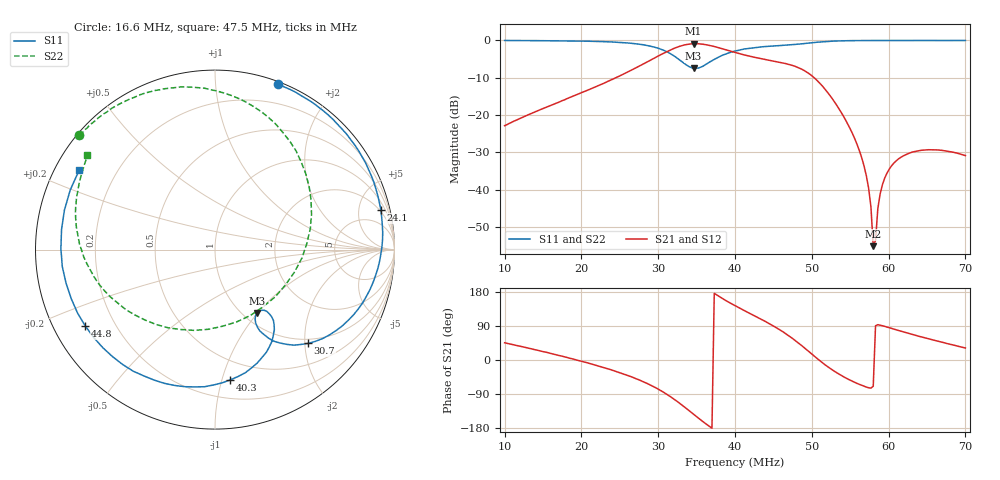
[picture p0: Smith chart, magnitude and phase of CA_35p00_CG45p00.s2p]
#  HZ  S  RI  R  50.00
! Rohde & Schwarz ZVT8 8Ports - Version 4.11 - 1300.0000k08 SN: 100242
! Date: 2026-07-31 14:42:55
! Measurements: S11 S21 S12 S22
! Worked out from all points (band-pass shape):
!   201 points, 10 MHz to 70 MHz, reference 50 ohm
!   highest |S21| = -0.90 dB at 34.6 MHz (marker M1); lowest = -55.1 dB at 58 MHz (marker M2)
!   |S21| within 3 dB of the highest: 30.28 MHz to 41.19 MHz (10.91 MHz wide, 30.5 % of centre)
!   lowest |S11| = -7.5 dB at 34.6 MHz (marker M3), VSWR 2.46, Z = 57.6 - j49.5 ohm
!   |S11| at or under -10 dB: nowhere
!   |S22| runs from -7.6 to 0.0 dB; largest |S21 - S12| = 0.0031
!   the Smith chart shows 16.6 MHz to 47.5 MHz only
!   S11 on the Smith chart (normalised r, x): 16.6 MHz: 0.02, +1.45; 24.1 MHz: 1.77, +8.10; 30.7 MHz: 0.91, -2.07; 40.3 MHz: 0.34, -1.06; 44.8 MHz: 0.09, -0.27; 47.5 MHz: 0.07, +0.27
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1e7  -0.4089 0.9089  0.0505 0.0513  0.0502 0.0513  -0.9195 0.3853
1.66e7  0.3508 0.9206  0.1384 0.0352  0.1381 0.0349  -0.7549 0.6357
2.02e7  0.7088 0.6706  0.2017 -0.015  0.2012 -0.015  -0.6069 0.7638
2.41e7  0.9242 0.2211  0.2686 -0.1395  0.2679 -0.139  -0.3572 0.8802
3.01e7  0.6004 -0.4953  0.1303 -0.6104  0.1311 -0.6101  0.3398 0.6978
3.07e7  0.5191 -0.5225  0.0579 -0.6687  0.0576 -0.6676  0.4159 0.6049
3.28e7  0.2719 -0.4724  -0.3434 -0.759  -0.3405 -0.7582  0.5309 0.1156
3.46e7  0.2325 -0.3528  -0.7214 -0.5415  -0.7207 -0.5403  0.2698 -0.317
3.67e7  0.3258 -0.3955  -0.8532 -0.0644  -0.8517 -0.0644  -0.261 -0.4357
4e7  0.1292 -0.7067  -0.5536 0.4123  -0.5528 0.4121  -0.7144 -0.0773
4.03e7  0.0853 -0.7257  -0.5208 0.4338  -0.5178 0.4339  -0.7309 -0.0418
4.48e7  -0.7233 -0.425  -0.0201 0.5317  -0.0197 0.532  -0.756 0.3718
4.75e7  -0.7576 0.4412  0.253 0.3848  0.2522 0.3856  -0.7104 0.5257
5.02e7  0.3255 0.8743  0.3154 0.0687  0.3148 0.0687  -0.6619 0.6719
5.26e7  0.974 0.0526  0.1534 -0.072  0.1531 -0.0718  -0.5724 0.7981
5.62e7  0.4311 -0.8953  0.0144 -0.0299  0.0143 -0.0299  -0.4005 0.9123
5.74e7  0.1614 -0.9827  0.00302 -0.01  0.00302 -0.01  -0.3429 0.9355
5.8e7  0.0319 -0.9949  0.00062 -0.00164  0.000621 -0.00166  -0.3155 0.9462
5.89e7  -0.1491 -0.985  -0.000302 0.00877  -0.000317 0.00876  -0.2748 0.9576
6.01e7  -0.3643 -0.9256  0.00156 0.0189  0.00159 0.0188  -0.2206 0.9721
6.49e7  -0.9056 -0.4148  0.0182 0.0288  0.0182 0.0288  -0.0119 0.9969
7e7  -0.9606 0.2635  0.0243 0.015  0.0243 0.0149  0.2024 0.9763
